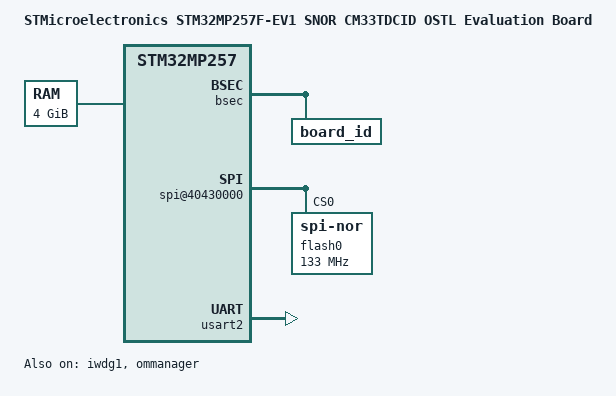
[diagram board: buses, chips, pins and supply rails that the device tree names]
// SPDX-License-Identifier: (GPL-2.0-only OR BSD-3-Clause)
/*
 * Copyright (C) STMicroelectronics 2023 - All Rights Reserved
 * Author: Alexandre Torgue <alexandre.torgue@foss.st.com> for STMicroelectronics.
 */

/dts-v1/;

#include <dt-bindings/clock/stm32mp25-clksrc.h>
#include "stm32mp257.dtsi"
#include "stm32mp25xf.dtsi"
#include "stm32mp257f-ev1-cm33tdcid-ostl-rcc.dtsi"
#include "stm32mp25-ddr4-2x16Gbits-2x16bits-1200MHz.dtsi"
#include "stm32mp25-pinctrl.dtsi"
#include "stm32mp25xxai-pinctrl.dtsi"

/ {
	model = "STMicroelectronics STM32MP257F-EV1 SNOR CM33TDCID OSTL Evaluation Board";
	compatible = "st,stm32mp257f-ev1-cm33tdcid-ostl-snor", "st,stm32mp257f-ev1", "st,stm32mp257";

	aliases {
		serial0 = &usart2;
	};

	chosen {
		stdout-path = "serial0:115200n8";
	};

	memory@80000000 {
		device_type = "memory";
		reg = <0x0 0x80000000 0x1 0x00000000>;
		};

	cpu0_opp_table: cpu0-opp-table {
		compatible = "operating-points-v2";

		opp-1200000000 {
			opp-hz = /bits/ 64 <1200000000>;
			opp-microvolt = <800000>;
			opp-supported-hw = <0x3>;
			st,opp-default;
			st,pll = <&pll1_cfg_1200Mhz>;
		};

		opp-1500000000 {
			opp-hz = /bits/ 64 <1500000000>;
			opp-microvolt = <910000>;
			opp-supported-hw = <0x2>;
			st,pll = <&pll1_cfg_1500MHz>;
		};
	};
};

&bsec {
	board_id: board_id@3d8 {
		reg = <0x3d8 0x4>;
	};
};

&cpu0 {
	operating-points-v2 = <&cpu0_opp_table>;
};

&iwdg1 {
	timeout-sec = <32>;
	status = "okay";
};

&ommanager {
	pinctrl-names = "default";
 	pinctrl-0 = <&ospi_port1_clk_pins_a
                     &ospi_port1_io03_pins_a
                     &ospi_port1_cs0_pins_a>;
	status = "okay";

        spi@40430000 {
                #address-cells = <1>;
                #size-cells = <0>;
                status = "okay";

                flash0: flash@0 {
                        compatible = "jedec,spi-nor";
                        reg = <0>;
                        spi-rx-bus-width = <4>;
                        spi-max-frequency = <133000000>;
                };
        };
};

&usart2 {
	pinctrl-names = "default";
	pinctrl-0 = <&usart2_pins_a>;
	status = "okay";
};
